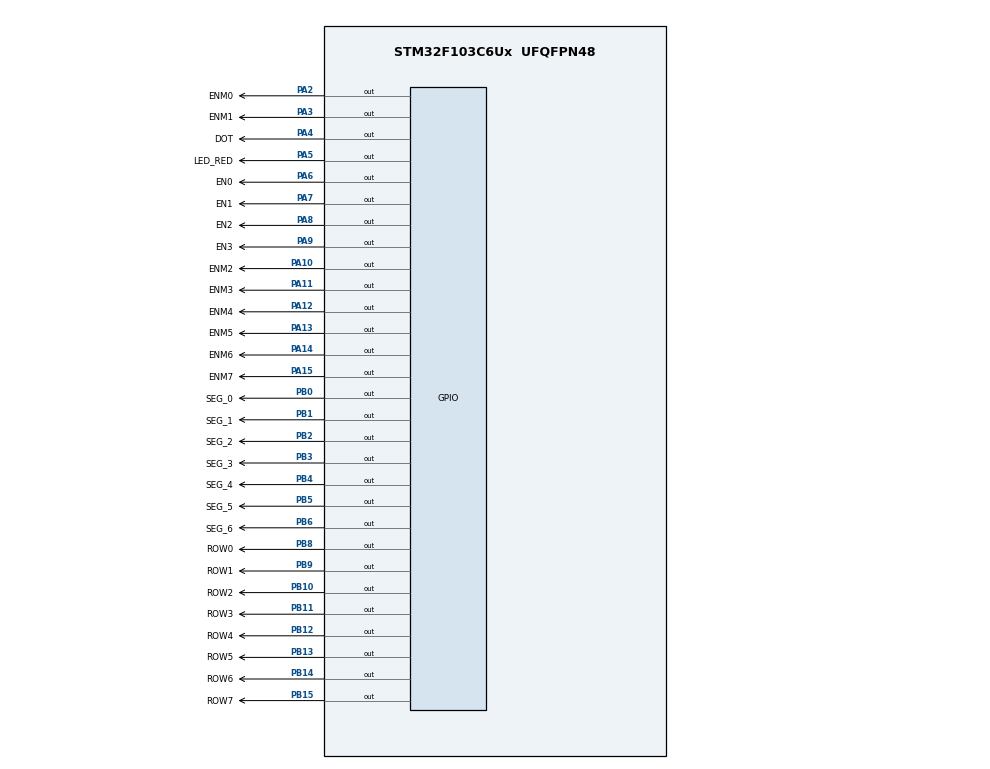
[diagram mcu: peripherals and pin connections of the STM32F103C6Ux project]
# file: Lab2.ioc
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Mcu.Family=STM32F1
Mcu.Name=STM32F103C6Ux
Mcu.Package=UFQFPN48
NVIC.PriorityGroup=NVIC_PRIORITYGROUP_4
NVIC.TIM2_IRQn=true\:0\:0\:false\:false\:true\:true\:true
PA10.GPIO_Label=ENM2
PA10.Signal=GPIO_Output
PA11.GPIO_Label=ENM3
PA11.Signal=GPIO_Output
PA12.GPIO_Label=ENM4
PA12.Signal=GPIO_Output
PA13.GPIO_Label=ENM5
PA13.Signal=GPIO_Output
PA14.GPIO_Label=ENM6
PA14.Signal=GPIO_Output
PA15.GPIO_Label=ENM7
PA15.Signal=GPIO_Output
PA2.GPIO_Label=ENM0
PA2.Signal=GPIO_Output
PA3.GPIO_Label=ENM1
PA3.Signal=GPIO_Output
PA4.GPIO_Label=DOT
PA4.Signal=GPIO_Output
PA5.GPIO_Label=LED_RED
PA5.Signal=GPIO_Output
PA6.GPIO_Label=EN0
PA6.Signal=GPIO_Output
PA7.GPIO_Label=EN1
PA7.Signal=GPIO_Output
PA8.GPIO_Label=EN2
PA8.Signal=GPIO_Output
PA9.GPIO_Label=EN3
PA9.Signal=GPIO_Output
PB0.GPIO_Label=SEG_0
PB0.Signal=GPIO_Output
PB1.GPIO_Label=SEG_1
PB1.Signal=GPIO_Output
PB10.GPIO_Label=ROW2
PB10.Signal=GPIO_Output
PB11.GPIO_Label=ROW3
PB11.Signal=GPIO_Output
PB12.GPIO_Label=ROW4
PB12.Signal=GPIO_Output
PB13.GPIO_Label=ROW5
PB13.Signal=GPIO_Output
PB14.GPIO_Label=ROW6
PB14.Signal=GPIO_Output
PB15.GPIO_Label=ROW7
PB15.Signal=GPIO_Output
PB2.GPIO_Label=SEG_2
PB2.Signal=GPIO_Output
PB3.GPIO_Label=SEG_3
PB3.Signal=GPIO_Output
PB4.GPIO_Label=SEG_4
PB4.Signal=GPIO_Output
PB5.GPIO_Label=SEG_5
PB5.Signal=GPIO_Output
PB6.GPIO_Label=SEG_6
PB6.Signal=GPIO_Output
PB8.GPIO_Label=ROW0
PB8.Signal=GPIO_Output
PB9.GPIO_Label=ROW1
PB9.Signal=GPIO_Output
ProjectManager.HeapSize=0x200
ProjectManager.StackSize=0x400
ProjectManager.TargetToolchain=STM32CubeIDE
RCC.APB1Freq_Value=8000000
RCC.APB2Freq_Value=8000000
TIM2.Period=9
TIM2.Prescaler=7999
VP_SYS_VS_ND.Mode=No_Debug
VP_TIM2_VS_ClockSourceINT.Mode=Internal
board=custom

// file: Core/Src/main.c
/* USER CODE BEGIN Header */
/**
  ******************************************************************************
  * @file           : main.c
  * @brief          : Main program body
  ******************************************************************************
  * @attention
  *
  * <h2><center>&copy; Copyright (c) 2023 STMicroelectronics.
  * All rights reserved.</center></h2>
  *
  * This software component is licensed by ST under BSD 3-Clause license,
  * the "License"; You may not use this file except in compliance with the
  * License. You may obtain a copy of the License at:
  *                        opensource.org/licenses/BSD-3-Clause
  *
  ******************************************************************************
  */
/* USER CODE END Header */
#include "main.h"
#include "tim.h"
#include "gpio.h"

/* USER CODE BEGIN Includes */
#include "software_timer.h"
/* USER CODE END Includes */

/* USER CODE BEGIN PD */
#define LED_0	0
#define LED_1	1
#define LED_2	2
#define LED_3	3
/* USER CODE END PD */

/* USER CODE BEGIN PV */
uint8_t status = LED_0;
uint8_t led_flag = 0;
const int MAX_LED = 4;
int index_led = 0;
int led_buffer[4] = {1, 2, 3, 4};
int hour = 15, minute = 8, second = 50;
const uint16_t pattern[8] = {0x001F, 0x003F, 0x007F, 0x00FF, 0x01FF, 0x03FF, 0x07FF, 0x0FFF};
/* USER CODE END PV */

void SystemClock_Config(void);
/* USER CODE BEGIN PFP */
void display7SEG(int num);
void update7SEG(int index);
void displayLEDMatrix(void);
void updateLEDMatrix(int index);
void testLedmatrix(uint16_t *matrixBuffer);
/* USER CODE END PFP */

int main(void)
{

  /* MCU Configuration--------------------------------------------------------*/

  /* Reset of all peripherals, Initializes the Flash interface and the Systick. */
  HAL_Init();

  /* Configure the system clock */
  SystemClock_Config();

  /* Initialize all configured peripherals */
  MX_TIM2_Init();
  MX_GPIO_Init();
  /* USER CODE BEGIN 2 */
  HAL_TIM_Base_Start_IT(&htim2);
  /* USER CODE END 2 */

  /* Infinite loop */
  /* USER CODE BEGIN WHILE */
  setTimer(1, 25);
  setTimer(2, 50);
  setTimer(3, 100);
  setTimer(4, 1);
  while (1)
  {
	  displayLEDMatrix();
	  if(timer_flag[1] == 1){
		  setTimer(1, 25);
		  HAL_GPIO_TogglePin(LED_RED_GPIO_Port, LED_RED_Pin);
		  if(index_led < MAX_LED){
			  update7SEG(index_led++);
		  }
		  if(index_led >= MAX_LED){
			  index_led = 0;
		  }
	  }
	  if(timer_flag[2] == 1){
		  setTimer(2, 50);
		  HAL_GPIO_TogglePin(DOT_GPIO_Port, DOT_Pin);
	  }
	  if(timer_flag[3] == 1){
		  setTimer(3, 100);
		  second++;
		  if (second >= 60){
			  second = 0;
			  minute++;
		  }
		  if(minute >= 60){
			  minute = 0;
			  hour++;
		  }
		  if(hour >=24){
			  hour = 0;
		  }
		  updateClockBuffer();
	  }
    /* USER CODE END WHILE */

  }
}

void SystemClock_Config(void)
{
  RCC_OscInitTypeDef RCC_OscInitStruct = {0};
  RCC_ClkInitTypeDef RCC_ClkInitStruct = {0};

  /** Initializes the RCC Oscillators according to the specified parameters
  * in the RCC_OscInitTypeDef structure.
  */
  RCC_OscInitStruct.OscillatorType = RCC_OSCILLATORTYPE_HSI;
  RCC_OscInitStruct.HSIState = RCC_HSI_ON;
  RCC_OscInitStruct.HSICalibrationValue = RCC_HSICALIBRATION_DEFAULT;
  RCC_OscInitStruct.PLL.PLLState = RCC_PLL_NONE;
  if (HAL_RCC_OscConfig(&RCC_OscInitStruct) != HAL_OK)
  {
    Error_Handler();
  }
  /** Initializes the CPU, AHB and APB buses clocks
  */
  RCC_ClkInitStruct.ClockType = RCC_CLOCKTYPE_HCLK|RCC_CLOCKTYPE_SYSCLK
                              |RCC_CLOCKTYPE_PCLK1|RCC_CLOCKTYPE_PCLK2;
  RCC_ClkInitStruct.SYSCLKSource = RCC_SYSCLKSOURCE_HSI;
  RCC_ClkInitStruct.AHBCLKDivider = RCC_SYSCLK_DIV1;
  RCC_ClkInitStruct.APB1CLKDivider = RCC_HCLK_DIV1;
  RCC_ClkInitStruct.APB2CLKDivider = RCC_HCLK_DIV1;

  if (HAL_RCC_ClockConfig(&RCC_ClkInitStruct, FLASH_LATENCY_0) != HAL_OK)
  {
    Error_Handler();
  }
}

/* USER CODE BEGIN 4 */
void HAL_TIM_PeriodElapsedCallback ( TIM_HandleTypeDef * htim ){
	timerRun(1);
	timerRun(2);
	timerRun(3);
	timerRun(4);
}

void display7SEG(int num){
	switch(num){
	case 0:
		HAL_GPIO_WritePin(GPIOB, SEG_0_Pin|SEG_1_Pin|SEG_2_Pin|SEG_3_Pin|SEG_4_Pin|SEG_5_Pin,GPIO_PIN_RESET);
		HAL_GPIO_WritePin(GPIOB, SEG_6_Pin,GPIO_PIN_SET);
		break;
	case 1:
		HAL_GPIO_WritePin(GPIOB, SEG_1_Pin|SEG_2_Pin,GPIO_PIN_RESET);
		HAL_GPIO_WritePin(GPIOB, SEG_0_Pin|SEG_3_Pin|SEG_4_Pin|SEG_5_Pin|SEG_6_Pin,GPIO_PIN_SET);
		break;
	case 2:
		HAL_GPIO_WritePin(GPIOB, SEG_0_Pin|SEG_1_Pin|SEG_3_Pin|SEG_4_Pin|SEG_5_Pin|SEG_6_Pin,GPIO_PIN_RESET);
		HAL_GPIO_WritePin(GPIOB, SEG_2_Pin|SEG_5_Pin,GPIO_PIN_SET);
		break;
	case 3:
		HAL_GPIO_WritePin(GPIOB, SEG_0_Pin|SEG_1_Pin|SEG_2_Pin|SEG_3_Pin|SEG_6_Pin,GPIO_PIN_RESET);
		HAL_GPIO_WritePin(GPIOB, SEG_4_Pin|SEG_5_Pin,GPIO_PIN_SET);
		break;
	case 4:
		HAL_GPIO_WritePin(GPIOB, SEG_1_Pin|SEG_2_Pin|SEG_5_Pin|SEG_6_Pin,GPIO_PIN_RESET);
		HAL_GPIO_WritePin(GPIOB, SEG_0_Pin|SEG_3_Pin|SEG_4_Pin,GPIO_PIN_SET);
		break;
	case 5:
		HAL_GPIO_WritePin(GPIOB, SEG_0_Pin|SEG_2_Pin|SEG_3_Pin|SEG_5_Pin|SEG_6_Pin,GPIO_PIN_RESET);
		HAL_GPIO_WritePin(GPIOB, SEG_1_Pin|SEG_4_Pin,GPIO_PIN_SET);
		break;
	case 6:
		HAL_GPIO_WritePin(GPIOB, SEG_0_Pin|SEG_2_Pin|SEG_3_Pin|SEG_4_Pin|SEG_5_Pin|SEG_6_Pin,GPIO_PIN_RESET);
		HAL_GPIO_WritePin(GPIOB, SEG_1_Pin,GPIO_PIN_SET);
		break;
	case 7:
		HAL_GPIO_WritePin(GPIOB, SEG_0_Pin|SEG_1_Pin|SEG_2_Pin,GPIO_PIN_RESET);
		HAL_GPIO_WritePin(GPIOB, SEG_3_Pin|SEG_4_Pin|SEG_5_Pin|SEG_6_Pin,GPIO_PIN_SET);
		break;
	case 8:
		HAL_GPIO_WritePin(GPIOB, SEG_0_Pin|SEG_1_Pin|SEG_2_Pin|SEG_3_Pin|SEG_4_Pin|SEG_5_Pin|SEG_6_Pin,GPIO_PIN_RESET);
		break;
	case 9:
		HAL_GPIO_WritePin(GPIOB, SEG_0_Pin|SEG_1_Pin|SEG_2_Pin|SEG_3_Pin|SEG_5_Pin|SEG_6_Pin,GPIO_PIN_RESET);
		HAL_GPIO_WritePin(GPIOB, SEG_4_Pin,GPIO_PIN_SET);
		break;
	}
}

void update7SEG(int index){
    switch (index){
        case 0:
			HAL_GPIO_WritePin(EN0_GPIO_Port, EN0_Pin, 0);
			HAL_GPIO_WritePin(EN1_GPIO_Port, EN1_Pin, 1);
			HAL_GPIO_WritePin(EN2_GPIO_Port, EN2_Pin, 1);
			HAL_GPIO_WritePin(EN3_GPIO_Port, EN3_Pin, 1);
			display7SEG(led_buffer[0]);
            break;
        case 1:
        	HAL_GPIO_WritePin(EN0_GPIO_Port, EN0_Pin, 1);
			HAL_GPIO_WritePin(EN1_GPIO_Port, EN1_Pin, 0);
			HAL_GPIO_WritePin(EN2_GPIO_Port, EN2_Pin, 1);
			HAL_GPIO_WritePin(EN3_GPIO_Port, EN3_Pin, 1);
			display7SEG(led_buffer[1]);
            break;
        case 2:
			HAL_GPIO_WritePin(EN0_GPIO_Port, EN0_Pin, 1);
			HAL_GPIO_WritePin(EN1_GPIO_Port, EN1_Pin, 1);
			HAL_GPIO_WritePin(EN2_GPIO_Port, EN2_Pin, 0);
			HAL_GPIO_WritePin(EN3_GPIO_Port, EN3_Pin, 1);
			display7SEG(led_buffer[2]);
            break;
        case 3:
        	HAL_GPIO_WritePin(EN0_GPIO_Port, EN0_Pin, 1);
			HAL_GPIO_WritePin(EN1_GPIO_Port, EN1_Pin, 1);
			HAL_GPIO_WritePin(EN2_GPIO_Port, EN2_Pin, 1);
			HAL_GPIO_WritePin(EN3_GPIO_Port, EN3_Pin, 0);
			display7SEG(led_buffer[3]);
            break;
        default:
            break;
    }
}

const int MAX_LED_MATRIX = 8;
int index_led_matrix = 0;
int col = 0;
uint8_t matrix_buffer[8] = {0xff,0x01,0x00,0xcc,0xcc,0x00,0x01,0xff};
uint16_t pins_to_set[] = {GPIO_PIN_2, GPIO_PIN_3, GPIO_PIN_10, GPIO_PIN_11, GPIO_PIN_12, GPIO_PIN_13, GPIO_PIN_14, GPIO_PIN_15};
void displayLEDMatrix(void) {
	if(timer_flag[4]){
    	setTimer(4, 1);
    	HAL_GPIO_WritePin(GPIOA, GPIO_PIN_2 | GPIO_PIN_3 | GPIO_PIN_10 | GPIO_PIN_11 | GPIO_PIN_12 | GPIO_PIN_13 | GPIO_PIN_14 | GPIO_PIN_15, 0xFC0C);
    	// Tắt tất cả các chân
    	col = (col + 1) % MAX_LED_MATRIX;
    }
	// Bật cột (col) tương ứng bằng cách sử dụng ULN2803 với tín hiệu đầu vào bằng 0
	HAL_GPIO_WritePin(GPIOA, pins_to_set[col], GPIO_PIN_RESET);
	// Hiển thị dữ liệu của cột (matrix_buffer[col]) lên hàng (row) tương ứng
	// Sử dụng GPIO_PIN_SET cho common cathode và GPIO_PIN_RESET cho common anode
	HAL_GPIO_WritePin(GPIOB, GPIO_PIN_8, (matrix_buffer[col] & 0x01) ? GPIO_PIN_SET : GPIO_PIN_RESET);
	HAL_GPIO_WritePin(GPIOB, GPIO_PIN_9, (matrix_buffer[col] & 0x02) ? GPIO_PIN_SET : GPIO_PIN_RESET);
	HAL_GPIO_WritePin(GPIOB, GPIO_PIN_10, (matrix_buffer[col] & 0x04) ? GPIO_PIN_SET : GPIO_PIN_RESET);
	HAL_GPIO_WritePin(GPIOB, GPIO_PIN_11, (matrix_buffer[col] & 0x08) ? GPIO_PIN_SET : GPIO_PIN_RESET);
	HAL_GPIO_WritePin(GPIOB, GPIO_PIN_12, (matrix_buffer[col] & 0x10) ? GPIO_PIN_SET : GPIO_PIN_RESET);
	HAL_GPIO_WritePin(GPIOB, GPIO_PIN_13, (matrix_buffer[col] & 0x20) ? GPIO_PIN_SET : GPIO_PIN_RESET);
	HAL_GPIO_WritePin(GPIOB, GPIO_PIN_14, (matrix_buffer[col] & 0x40) ? GPIO_PIN_SET : GPIO_PIN_RESET);
	HAL_GPIO_WritePin(GPIOB, GPIO_PIN_15, (matrix_buffer[col] & 0x80) ? GPIO_PIN_SET : GPIO_PIN_RESET);
}

void updateClockBuffer(){
	led_buffer[0] = hour/10;
	led_buffer[1] = hour%10;
	led_buffer[2] = minute/10;
	led_buffer[3] = minute%10;
}
/* USER CODE END 4 */

void Error_Handler(void)
{
  __disable_irq();
  while (1)
  {
  }
}

/************************ (C) COPYRIGHT STMicroelectronics *****END OF FILE****/
